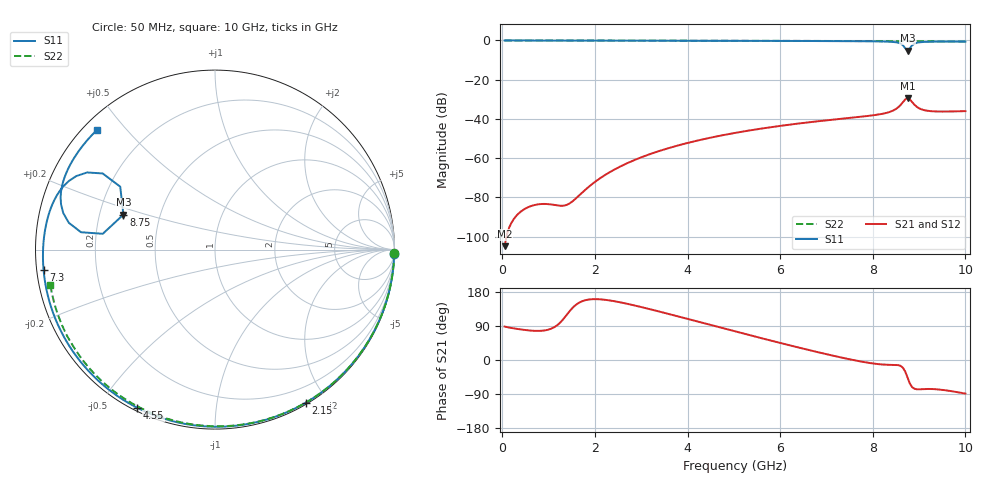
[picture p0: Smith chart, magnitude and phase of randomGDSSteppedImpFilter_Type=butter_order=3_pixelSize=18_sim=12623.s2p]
! freq	dB(S11)	phase(S11)	dB(S12)	phase(S12)
!  dB(S21)	phase(S21)	dB(S22)	phase(S22)
!S-par simulation data
#  GHz  S  DB  R 50
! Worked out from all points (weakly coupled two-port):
!   200 points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, 50 MHz to 10 GHz, reference 50 ohm
!   highest |S21| = -29.39 dB at 8.75 GHz (marker M1); lowest = -104.9 dB at 50 MHz (marker M2)
!   lowest |S11| = -5.3 dB at 8.75 GHz (marker M3), VSWR 3.41, Z = 15.1 + j8.39 ohm
!   |S11| at or under -10 dB: nowhere
!   |S22| runs from -0.6 to 0.0 dB; largest |S21 - S12| = 0
!   S11 on the Smith chart (normalised r, x): 50 MHz: 3, -83; 2.15 GHz: 0.02, -1.76; 4.55 GHz: 0.01, -0.62; 7.3 GHz: 0.02, -0.06; 8.75 GHz: 0.30, +0.17; 10 GHz: 0.04, +0.42
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0.05  -0.01 -1.4  -104.86 88.3  -104.86 88.3  -0.00 -0.9
0.8  -0.03 -22.7  -83.46 76.9  -83.46 76.9  -0.02 -15.4
1.6  -0.06 -44.7  -80.30 146.6  -80.30 146.6  -0.04 -30.6
1.75  -0.06 -48.7  -77.02 156.3  -77.02 156.3  -0.04 -33.4
2.15  -0.07 -59.2  -69.63 159.7  -69.63 159.7  -0.05 -40.9
2.7  -0.09 -73.2  -62.54 148.3  -62.54 148.3  -0.07 -50.9
3.4  -0.11 -90.2  -56.27 127.6  -56.27 127.6  -0.08 -63.3
4.55  -0.16 -116.1  -49.29 90.8  -49.29 90.8  -0.12 -82.9
5.05  -0.18 -126.8  -47.03 74.8  -47.03 74.8  -0.14 -91.1
5.9  -0.23 -144.5  -43.87 48.1  -43.87 48.1  -0.18 -104.7
6.7  -0.29 -160.8  -41.50 24.0  -41.50 24.0  -0.23 -117.2
7.3  -0.34 -173.3  -39.97 7.1  -39.97 7.1  -0.27 -126.3
8.35  -0.62 161.1  -36.56 -12.7  -36.56 -12.7  -0.37 -142.3
8.55  -1.16 152.1  -34.06 -13.5  -34.06 -13.5  -0.39 -145.3
8.65  -2.43 145.9  -31.50 -20.2  -31.50 -20.2  -0.40 -146.8
8.7  -3.96 146.4  -30.07 -30.3  -30.07 -30.3  -0.40 -147.5
8.75  -5.25 159.1  -29.39 -46.1  -29.39 -46.1  -0.40 -148.3
8.8  -3.99 172.0  -30.04 -61.9  -30.04 -61.9  -0.40 -149.1
8.85  -2.47 172.6  -31.43 -71.6  -31.43 -71.6  -0.41 -149.9
9  -0.98 163.7  -34.56 -77.4  -34.56 -77.4  -0.43 -152.2
9.3  -0.61 152.5  -36.13 -76.7  -36.13 -76.7  -0.47 -156.8
10  -0.57 134.5  -36.02 -88.7  -36.02 -88.7  -0.55 -167.8
